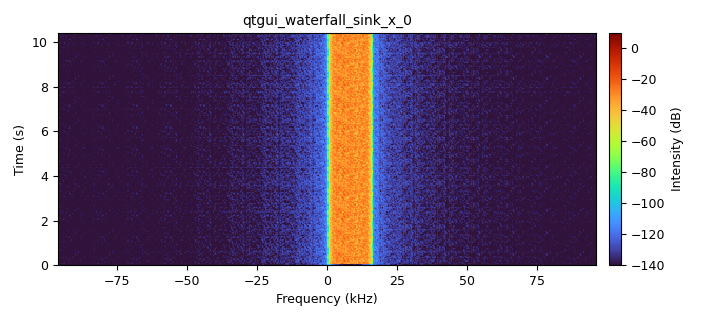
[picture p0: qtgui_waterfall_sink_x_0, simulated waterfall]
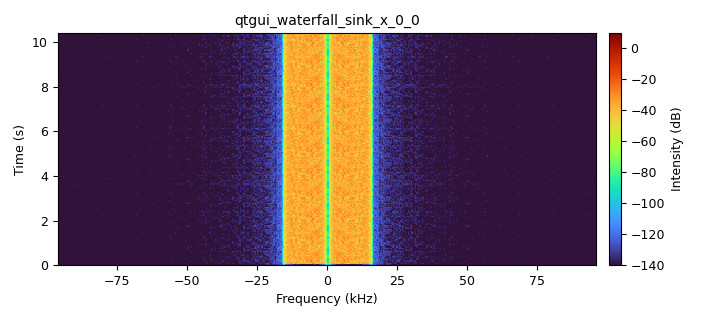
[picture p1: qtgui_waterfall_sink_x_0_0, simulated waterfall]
<?xml version='1.0' encoding='utf-8'?>
<?grc format='1' created='3.7.13'?>
<flow_graph>
<block>
<key>options</key>
<param><key>id</key><value>top_block</value></param>
<param><key>generate_options</key><value>qt_gui</value></param>
</block>
<block>
<key>variable</key>
<param><key>id</key><value>analog_bw</value></param>
<param><key>value</key><value>baud_rate*(1.0+excess_bw)</value></param>
</block>
<block>
<key>variable</key>
<param><key>id</key><value>baud_rate</value></param>
<param><key>value</key><value>samp_rate/sps</value></param>
</block>
<block>
<key>variable</key>
<param><key>id</key><value>bitrate</value></param>
<param><key>value</key><value>my_con.bits_per_symbol()*baud_rate</value></param>
</block>
<block>
<key>variable_qtgui_range</key>
<param><key>id</key><value>damp</value></param>
<param><key>value</key><value>1.5</value></param>
<param><key>gui_hint</key><value>1,2,1,1</value></param>
<param><key>label</key><value>Damping</value></param>
<param><key>orient</key><value>Qt.Horizontal</value></param>
<param><key>start</key><value>.5</value></param>
<param><key>step</key><value>.1</value></param>
<param><key>stop</key><value>3</value></param>
</block>
<block>
<key>variable</key>
<param><key>id</key><value>excess_bw</value></param>
<param><key>value</key><value>.25</value></param>
</block>
<block>
<key>variable</key>
<param><key>id</key><value>fc</value></param>
<param><key>value</key><value>8000</value></param>
</block>
<block>
<key>variable</key>
<param><key>id</key><value>len_taps</value></param>
<param><key>value</key><value>len(rrc_taps)</value></param>
</block>
<block>
<key>variable_qtgui_range</key>
<param><key>id</key><value>loop_bw</value></param>
<param><key>value</key><value>.05</value></param>
<param><key>gui_hint</key><value>1,1,1,1</value></param>
<param><key>label</key><value>Loop BW</value></param>
<param><key>orient</key><value>Qt.Horizontal</value></param>
<param><key>start</key><value>.01</value></param>
<param><key>step</key><value>.001</value></param>
<param><key>stop</key><value>.5</value></param>
</block>
<block>
<key>variable</key>
<param><key>id</key><value>my_con</value></param>
<param><key>_enabled</key><value>0</value></param>
<param><key>value</key><value>digital.constellation_16qam().base()</value></param>
</block>
<block>
<key>variable</key>
<param><key>id</key><value>my_con</value></param>
<param><key>_enabled</key><value>0</value></param>
<param><key>value</key><value>digital.constellation_bpsk().base()</value></param>
</block>
<block>
<key>variable</key>
<param><key>id</key><value>my_con</value></param>
<param><key>_enabled</key><value>0</value></param>
<param><key>value</key><value>digital.constellation_qpsk().base()</value></param>
</block>
<block>
<key>variable</key>
<param><key>id</key><value>my_con</value></param>
<param><key>_enabled</key><value>0</value></param>
<param><key>value</key><value>digital.qam_constellation(64).base()</value></param>
</block>
<block>
<key>variable</key>
<param><key>id</key><value>my_con</value></param>
<param><key>value</key><value>digital.qam_constellation(256).base()</value></param>
</block>
<block>
<key>variable</key>
<param><key>id</key><value>my_con</value></param>
<param><key>_enabled</key><value>0</value></param>
<param><key>value</key><value>digital.qam_constellation(1024).base()</value></param>
</block>
<block>
<key>variable</key>
<param><key>id</key><value>nfilts</value></param>
<param><key>value</key><value>16</value></param>
</block>
<block>
<key>variable</key>
<param><key>id</key><value>ntaps</value></param>
<param><key>value</key><value>int(11*sps*nfilts)</value></param>
</block>
<block>
<key>variable</key>
<param><key>id</key><value>ntaps</value></param>
<param><key>_enabled</key><value>0</value></param>
<param><key>value</key><value>int(sps*nfilts*7)</value></param>
</block>
<block>
<key>variable</key>
<param><key>id</key><value>osps</value></param>
<param><key>value</key><value>1</value></param>
</block>
<block>
<key>variable</key>
<param><key>id</key><value>rrc_taps</value></param>
<param><key>value</key><value>firdes.root_raised_cosine(nfilts,1.0,1.0/(nfilts*sps), excess_bw, ntaps)</value></param>
</block>
<block>
<key>variable</key>
<param><key>id</key><value>samp_rate</value></param>
<param><key>value</key><value>192000</value></param>
</block>
<block>
<key>variable_qtgui_range</key>
<param><key>id</key><value>snr</value></param>
<param><key>value</key><value>42</value></param>
<param><key>gui_hint</key><value>0,0,1,1</value></param>
<param><key>label</key><value>SNR</value></param>
<param><key>orient</key><value>Qt.Horizontal</value></param>
<param><key>start</key><value>10</value></param>
<param><key>step</key><value>1</value></param>
<param><key>stop</key><value>60</value></param>
</block>
<block>
<key>variable</key>
<param><key>id</key><value>snr</value></param>
<param><key>_enabled</key><value>0</value></param>
<param><key>value</key><value>50</value></param>
</block>
<block>
<key>variable</key>
<param><key>id</key><value>sps</value></param>
<param><key>value</key><value>16</value></param>
</block>
<block>
<key>variable_qtgui_range</key>
<param><key>id</key><value>ted_gain</value></param>
<param><key>value</key><value>1</value></param>
<param><key>gui_hint</key><value>1,0,1,1</value></param>
<param><key>label</key><value>TED gain</value></param>
<param><key>orient</key><value>Qt.Horizontal</value></param>
<param><key>start</key><value>.5</value></param>
<param><key>step</key><value>.1</value></param>
<param><key>stop</key><value>3</value></param>
</block>
<block>
<key>variable_qtgui_range</key>
<param><key>id</key><value>xpd</value></param>
<param><key>value</key><value>30</value></param>
<param><key>gui_hint</key><value>0,1,1,1</value></param>
<param><key>label</key><value>XPD</value></param>
<param><key>orient</key><value>Qt.Horizontal</value></param>
<param><key>start</key><value>10</value></param>
<param><key>step</key><value>1</value></param>
<param><key>stop</key><value>60</value></param>
</block>
<block>
<key>variable</key>
<param><key>id</key><value>xpd</value></param>
<param><key>_enabled</key><value>0</value></param>
<param><key>value</key><value>30</value></param>
</block>
<block>
<key>analog_random_source_x</key>
<param><key>id</key><value>analog_random_source_x_0</value></param>
<param><key>max</key><value>256</value></param>
<param><key>min</key><value>0</value></param>
<param><key>num_samps</key><value>321</value></param>
<param><key>type</key><value>byte</value></param>
<param><key>repeat</key><value>True</value></param>
</block>
<block>
<key>blocks_complex_to_float</key>
<param><key>id</key><value>blocks_complex_to_float_0</value></param>
</block>
<block>
<key>blocks_file_sink</key>
<param><key>id</key><value>blocks_file_sink_0</value></param>
<param><key>file</key><value>/home/magnus/Music/tmp.f32</value></param>
<param><key>type</key><value>float</value></param>
</block>
<block>
<key>blocks_multiply_const_vxx</key>
<param><key>id</key><value>blocks_multiply_const_vxx_0</value></param>
<param><key>const</key><value>.5</value></param>
<param><key>type</key><value>complex</value></param>
</block>
<block>
<key>blocks_null_sink</key>
<param><key>id</key><value>blocks_null_sink_0</value></param>
<param><key>bus_conns</key><value>[[0,],]</value></param>
<param><key>type</key><value>float</value></param>
</block>
<block>
<key>blocks_rotator_cc</key>
<param><key>id</key><value>blocks_rotator_cc_0</value></param>
<param><key>phase_inc</key><value>2*np.pi*fc/samp_rate</value></param>
</block>
<block>
<key>blocks_throttle</key>
<param><key>id</key><value>blocks_throttle_0</value></param>
<param><key>samples_per_second</key><value>samp_rate</value></param>
<param><key>type</key><value>complex</value></param>
</block>
<block>
<key>digital_constellation_modulator</key>
<param><key>id</key><value>digital_constellation_modulator_0</value></param>
<param><key>constellation</key><value>my_con</value></param>
<param><key>differential</key><value>False</value></param>
<param><key>excess_bw</key><value>excess_bw</value></param>
<param><key>samples_per_symbol</key><value>sps</value></param>
</block>
<block>
<key>import</key>
<param><key>id</key><value>import_0</value></param>
<param><key>import</key><value>from gnuradio import digital</value></param>
</block>
<block>
<key>import</key>
<param><key>id</key><value>import_0_0</value></param>
<param><key>import</key><value>import numpy as np</value></param>
</block>
<block>
<key>qtgui_waterfall_sink_x</key>
<param><key>id</key><value>qtgui_waterfall_sink_x_0</value></param>
<param><key>bw</key><value>samp_rate</value></param>
<param><key>fc</key><value>0</value></param>
<param><key>fftsize</key><value>1024</value></param>
<param><key>gui_hint</key><value>tabs@0</value></param>
<param><key>showports</key><value>True</value></param>
<param><key>type</key><value>complex</value></param>
<param><key>wintype</key><value>firdes.WIN_BLACKMAN_hARRIS</value></param>
</block>
<block>
<key>qtgui_waterfall_sink_x</key>
<param><key>id</key><value>qtgui_waterfall_sink_x_0_0</value></param>
<param><key>bw</key><value>samp_rate</value></param>
<param><key>fc</key><value>0</value></param>
<param><key>fftsize</key><value>1024</value></param>
<param><key>gui_hint</key><value>tabs@0</value></param>
<param><key>showports</key><value>True</value></param>
<param><key>type</key><value>float</value></param>
<param><key>wintype</key><value>firdes.WIN_BLACKMAN_hARRIS</value></param>
</block>
<block>
<key>qtgui_tab_widget</key>
<param><key>id</key><value>tabs</value></param>
<param><key>gui_hint</key><value>2,0,3,3</value></param>
<param><key>label0</key><value>Baseband</value></param>
<param><key>label1</key><value>Constellation</value></param>
<param><key>label2</key><value>Timing</value></param>
<param><key>label3</key><value>Spectrum</value></param>
<param><key>num_tabs</key><value>4</value></param>
</block>
<connection><source_block_id>analog_random_source_x_0</source_block_id><sink_block_id>digital_constellation_modulator_0</sink_block_id><source_key>0</source_key><sink_key>0</sink_key></connection>
<connection><source_block_id>blocks_complex_to_float_0</source_block_id><sink_block_id>blocks_null_sink_0</sink_block_id><source_key>1</source_key><sink_key>0</sink_key></connection>
<connection><source_block_id>blocks_complex_to_float_0</source_block_id><sink_block_id>blocks_file_sink_0</sink_block_id><source_key>0</source_key><sink_key>0</sink_key></connection>
<connection><source_block_id>blocks_complex_to_float_0</source_block_id><sink_block_id>qtgui_waterfall_sink_x_0_0</sink_block_id><source_key>0</source_key><sink_key>0</sink_key></connection>
<connection><source_block_id>blocks_multiply_const_vxx_0</source_block_id><sink_block_id>blocks_rotator_cc_0</sink_block_id><source_key>0</source_key><sink_key>0</sink_key></connection>
<connection><source_block_id>blocks_rotator_cc_0</source_block_id><sink_block_id>blocks_complex_to_float_0</sink_block_id><source_key>0</source_key><sink_key>0</sink_key></connection>
<connection><source_block_id>blocks_rotator_cc_0</source_block_id><sink_block_id>qtgui_waterfall_sink_x_0</sink_block_id><source_key>0</source_key><sink_key>0</sink_key></connection>
<connection><source_block_id>blocks_throttle_0</source_block_id><sink_block_id>blocks_multiply_const_vxx_0</sink_block_id><source_key>0</source_key><sink_key>0</sink_key></connection>
<connection><source_block_id>digital_constellation_modulator_0</source_block_id><sink_block_id>blocks_throttle_0</sink_block_id><source_key>0</source_key><sink_key>0</sink_key></connection>
</flow_graph>
